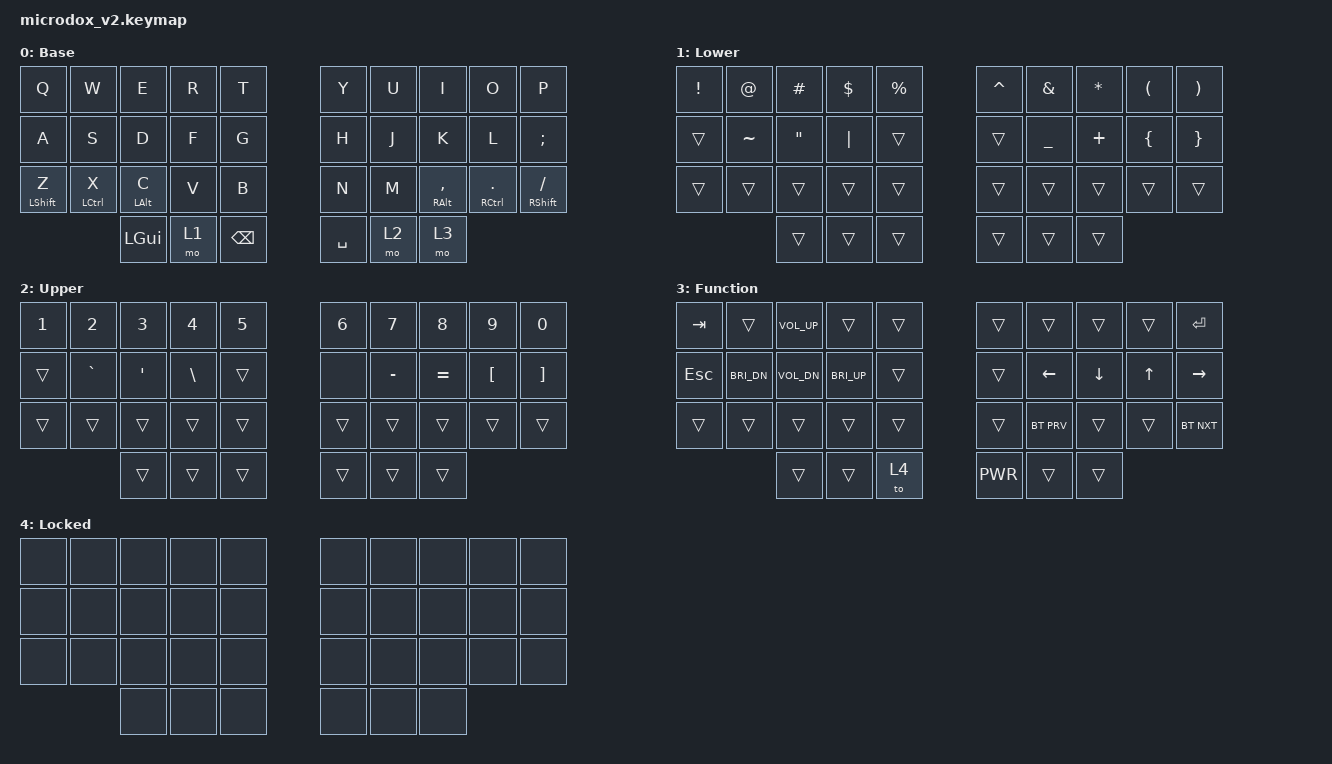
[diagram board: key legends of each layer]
/*
 * Copyright (c) 2020 The ZMK Contributors
 *
 * SPDX-License-Identifier: MIT
 */

#include <behaviors.dtsi>
#include <dt-bindings/zmk/keys.h>
#include <dt-bindings/zmk/bt.h>

/ {
    behaviors {
        ht: hold_tap {
            compatible = "zmk,behavior-hold-tap";
            label = "HOLD_TAP";
            #binding-cells = <2>;
            tapping-term-ms = <140>;
            quick-tap-ms = <140>;
            flavor = "balanced";
            bindings =
                <&kp>,
                <&kp>;
        };
    };

    combos {
        compatible = "zmk,combos";

        Unlock {
            bindings = <&to 0>;
            key-positions = <34 16 31 13>;
            layers = <4>;
        };

        BT-Clear {
            bindings = <&bt BT_CLR>;
            key-positions = <29 26>;
            layers = <3>;
        };
    };

    keymap {
        compatible = "zmk,keymap";

        Base {
            label = "Base";
            bindings = <
      &kp Q        &kp W       &kp E  &kp R          &kp T      &kp Y  &kp U           &kp I          &kp O            &kp P
      &kp A        &kp S       &kp D  &kp F          &kp G      &kp H  &kp J           &kp K          &kp L         &kp SEMI
&ht LSHFT Z  &ht LCTRL X  &ht LALT C  &kp V          &kp B      &kp N  &kp M  &ht RALT COMMA  &ht RCTRL DOT  &ht RSHFT SLASH
                            &kp LGUI  &mo 1  &kp BACKSPACE  &kp SPACE  &mo 2           &mo 3
            >;
        };

        Lower {
            label = "Lower";
            bindings = <
&kp EXCL     &kp AT           &kp HASH  &kp DOLLAR  &kp PERCENT  &kp CARET   &kp AMPS  &kp ASTRK  &kp LPAR  &kp RPAR
  &trans  &kp TILDE  &kp DOUBLE_QUOTES    &kp PIPE       &trans     &trans  &kp UNDER   &kp PLUS  &kp LBRC  &kp RBRC
  &trans     &trans             &trans      &trans       &trans     &trans     &trans     &trans    &trans    &trans
                                &trans      &trans       &trans     &trans     &trans     &trans
            >;
        };

        Upper {
            label = "Upper";
            bindings = <
&kp NUMBER_1     &kp N2            &kp N3    &kp N4  &kp N5  &kp N6     &kp N7     &kp N8    &kp N9    &kp N0
      &trans  &kp GRAVE  &kp SINGLE_QUOTE  &kp BSLH  &trans   &none  &kp MINUS  &kp EQUAL  &kp LBKT  &kp RBKT
      &trans     &trans            &trans    &trans  &trans  &trans     &trans     &trans    &trans    &trans
                                   &trans    &trans  &trans  &trans     &trans     &trans
            >;
        };

        Function {
            label = "Function";
            bindings = <
&kp TAB        &trans  &kp C_VOL_UP        &trans  &trans     &trans      &trans    &trans  &trans   &kp ENTER
&kp ESC  &kp C_BRI_DN  &kp C_VOL_DN  &kp C_BRI_UP  &trans     &trans    &kp LEFT  &kp DOWN  &kp UP   &kp RIGHT
 &trans        &trans        &trans        &trans  &trans     &trans  &bt BT_PRV    &trans  &trans  &bt BT_NXT
                             &trans        &trans   &to 4  &kp C_PWR      &trans    &trans
            >;
        };

        Locked {
            label = "Locked";
            bindings = <
&none  &none  &none  &none  &none  &none  &none  &none  &none  &none
&none  &none  &none  &none  &none  &none  &none  &none  &none  &none
&none  &none  &none  &none  &none  &none  &none  &none  &none  &none
              &none  &none  &none  &none  &none  &none
            >;
        };
    };
};
